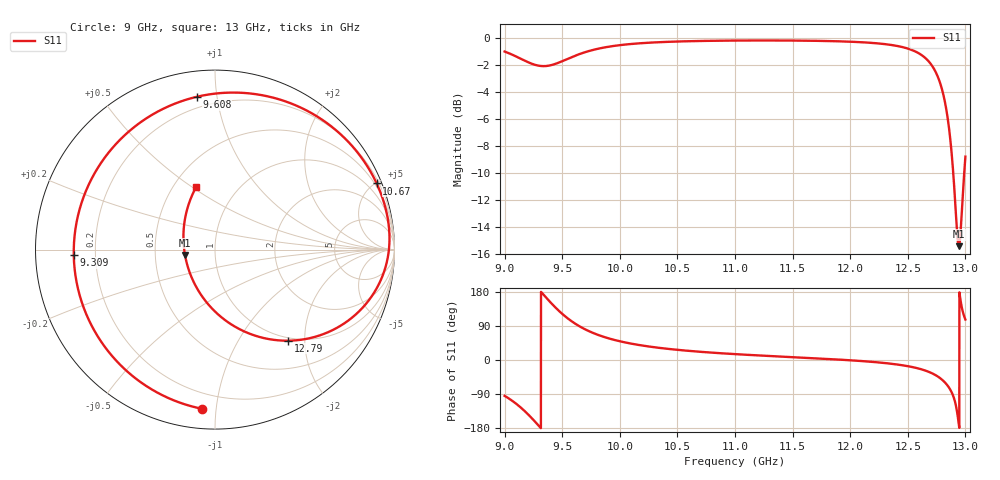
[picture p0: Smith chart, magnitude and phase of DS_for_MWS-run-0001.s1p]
! TOUCHSTONE file generated by CST DESIGN STUDIO
! Date and time: Tue Feb  4 16:08:35 2025
! Project name: C:\Work\MatlabApps\UnitCellOptimizationMatlab\CST\unitcell.cst
! Tree item: Tasks\Sweep1\SPara1\S-Parameters
! Header version: 2024
! Port assignment regex: !\s*Touchstone port\s*([0-9]+)\s*=\s*(CST MWS port|CST DES external port|CST DES block port)\s*(.+)\s* \(\"(.*)\"\)(\s*mode\s*([0-9]+))?.*
! Touchstone port assignment:
! Touchstone port 1 = CST DES external port 1 ("")
# GHz S MA R 50
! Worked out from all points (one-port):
!   4001 points, 9 GHz to 13 GHz, reference 50 ohm
!   lowest |S11| = -15.4 dB at 12.94 GHz (marker M1), VSWR 1.41, Z = 35.6 - j2.2 ohm
!   |S11| at or under -10 dB: 12.89 GHz to 12.99 GHz (94.99 MHz wide, 0.734 % of centre)
!   S11 on the Smith chart (normalised r, x): 9 GHz: 0.11, -0.92; 9.309 GHz: 0.12, -0.02; 9.608 GHz: 0.14, +0.88; 10.67 GHz: 0.36, +5.06; 12.79 GHz: 0.95, -1.67; 13 GHz: 0.65, +0.52
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9  0.89 -94.6
9.079  0.8616 -110.5
9.152  0.8325 -128.6
9.237  0.802 -153.8
9.309  0.7875 -177.8
9.394  0.7908 153.5
9.5  0.8197 121.8
9.608  0.8573 96.8
9.689  0.8824 82.5
9.791  0.9073 68.6
10  0.9397 49.5
10.216  0.9573 37.2
10.5  0.9692 26.8
10.672  0.9732 22.3
11  0.9771 15.5
11.5  0.9771 7.5
12  0.9676 -0.7
12.285  0.9497 -7.5
12.5  0.9127 -16.3
12.673  0.8259 -30.2
12.737  0.755 -39.2
12.794  0.652 -51.1
12.835  0.5417 -63.5
12.871  0.4136 -79.5
12.926  0.1964 -133.6
12.943  0.1699 -169.8
12.959  0.1937 155.3
13  0.3639 106.8
